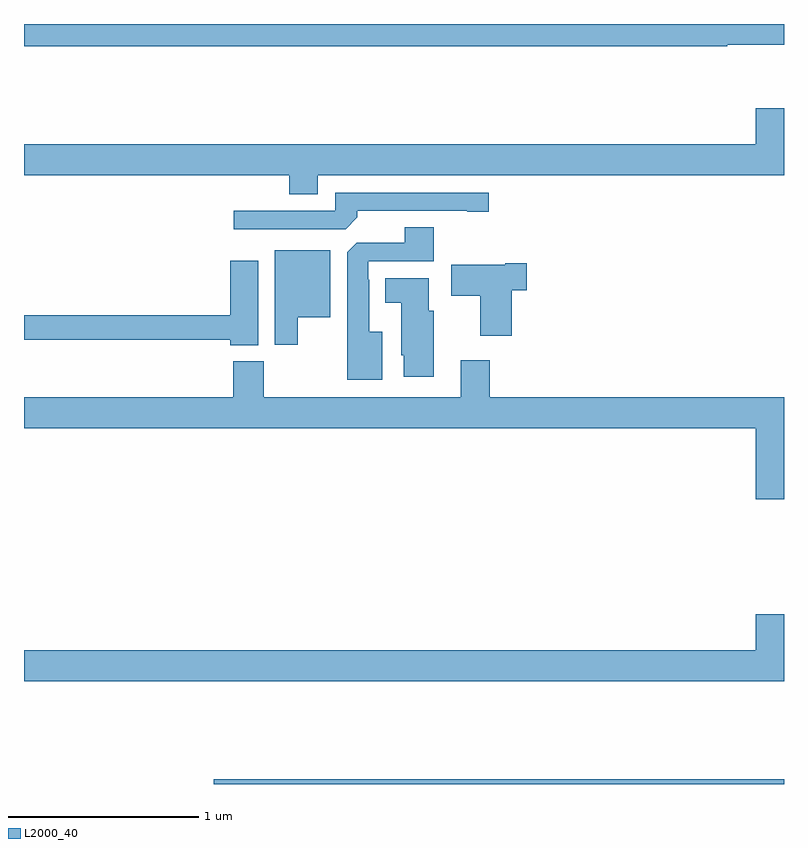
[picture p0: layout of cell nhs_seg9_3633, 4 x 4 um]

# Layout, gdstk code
import gdstk
lib = gdstk.Library(unit=1e-6, precision=1e-09)
def R(c, l, rs):  # rectangles x0, y0, x1, y1
    for r in rs: c.add(gdstk.rectangle(r[:2], r[2:], *l))
def P(c, l, *ps):  # polygons
    for p in ps: c.add(gdstk.Polygon(p, *l))
L2000_40 = (2000, 40)

nhs_seg9_3633 = lib.new_cell('nhs_seg9_3633')
R(nhs_seg9_3633, L2000_40, [(317.999,1242.5,321,1242.524)])
P(nhs_seg9_3633, L2000_40, [(320.702,1246.392),(321,1246.392),(321,1246.5),(317,1246.5),(317,1246.384),(320.702,1246.384)],
  [(318.547,1245.704),(321,1245.704),(321,1246.057),(320.852,1246.057),(320.852,1245.868),(317,1245.868),(317,1245.704),(318.395,1245.704),(318.395,1245.605),(318.547,1245.605)],
  [(318.755,1245.482),(318.755,1245.516),(319.334,1245.516),(319.334,1245.511),(319.447,1245.511),(319.447,1245.612),(318.639,1245.612),(318.639,1245.516),(318.105,1245.516),(318.105,1245.42),(318.693,1245.42)],
  [(318.886,1244.881),(318.817,1244.881),(318.817,1245.155),(318.813,1245.155),(318.813,1245.252),(319.157,1245.252),(319.157,1245.431),(319.004,1245.431),(319.004,1245.348),(318.75,1245.348),(318.701,1245.299),(318.701,1244.627),(318.886,1244.627)],
  [(318.442,1244.957),(318.613,1244.957),(318.613,1245.31),(318.32,1245.31),(318.32,1244.811),(318.442,1244.811)],
  [(318.232,1245.253),(318.086,1245.253),(318.086,1244.966),(317,1244.966),(317,1244.838),(318.086,1244.838),(318.086,1244.81),(318.232,1244.81)],
  [(319.568,1245.098),(319.645,1245.098),(319.645,1245.24),(319.532,1245.24),(319.532,1245.232),(319.248,1245.232),(319.248,1245.07),(319.4,1245.07),(319.4,1244.859),(319.568,1244.859)],
  [(319.156,1244.991),(319.129,1244.991),(319.129,1245.163),(318.902,1245.163),(318.902,1245.032),(318.986,1245.032),(318.986,1244.757),(318.998,1244.757),(318.998,1244.643),(319.156,1244.643)],
  [(321,1244.536),(319.451,1244.536),(319.451,1244.731),(319.298,1244.731),(319.298,1244.536),(318.261,1244.536),(318.261,1244.725),(318.101,1244.725),(318.101,1244.536),(317,1244.536),(317,1244.372),(320.852,1244.372),(320.852,1243.998),(321,1243.998)],
  [(321,1243.393),(320.852,1243.393),(320.852,1243.204),(317,1243.204),(317,1243.04),(321,1243.04)])

lib.write_gds('nhs_seg9_3633.gds')
